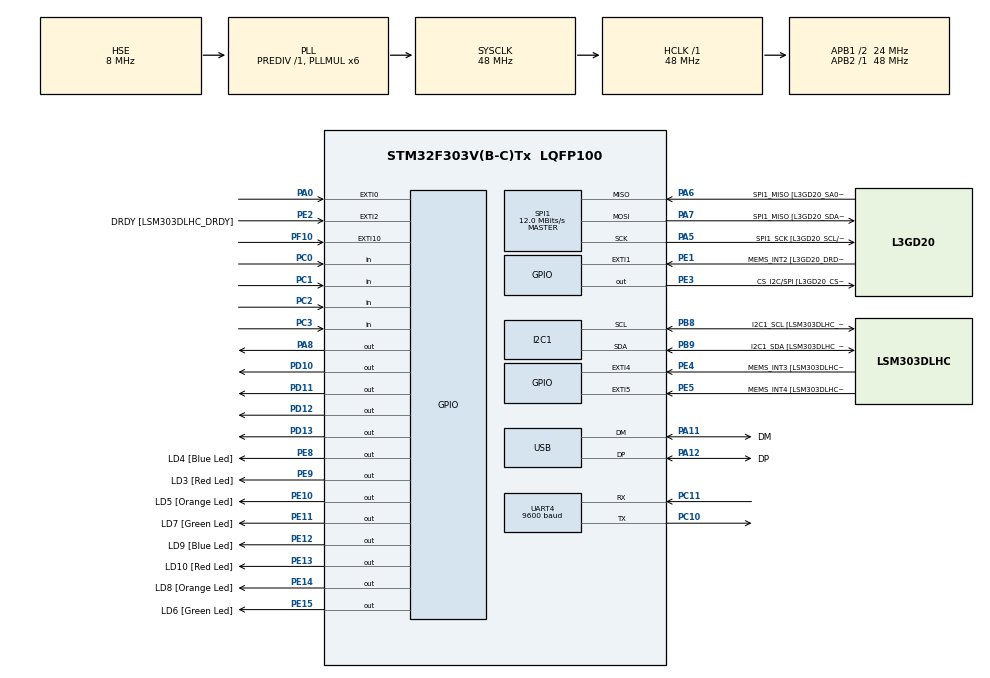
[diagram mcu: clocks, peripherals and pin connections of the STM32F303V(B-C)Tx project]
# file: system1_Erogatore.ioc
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Mcu.Family=STM32F3
Mcu.Name=STM32F303V(B-C)Tx
Mcu.Package=LQFP100
NVIC.EXTI0_IRQn=true\:0\:0\:false\:false\:true\:true\:true\:true
NVIC.EXTI15_10_IRQn=true\:0\:0\:false\:false\:true\:true\:true\:true
NVIC.PriorityGroup=NVIC_PRIORITYGROUP_0
NVIC.UART4_IRQn=true\:0\:0\:false\:false\:true\:true\:true\:true
PA0.Signal=GPXTI0
PA11.GPIO_Label=DM
PA11.Mode=Device
PA11.Signal=USB_DM
PA12.GPIO_Label=DP
PA12.Mode=Device
PA12.Signal=USB_DP
PA13.GPIO_Label=SWDIO
PA13.Mode=Serial_Wire
PA13.Signal=SYS_JTMS-SWDIO
PA14.GPIO_Label=SWCLK
PA14.Mode=Serial_Wire
PA14.Signal=SYS_JTCK-SWCLK
PA5.GPIO_Label=SPI1_SCK [L3GD20_SCL/SPC]
PA5.Mode=Full_Duplex_Master
PA5.Signal=SPI1_SCK
PA6.GPIO_Label=SPI1_MISO [L3GD20_SA0/SDO]
PA6.Mode=Full_Duplex_Master
PA6.Signal=SPI1_MISO
PA7.GPIO_Label=SPI1_MISO [L3GD20_SDA/SDI/SDO]
PA7.Mode=Full_Duplex_Master
PA7.Signal=SPI1_MOSI
PA8.PinState=GPIO_PIN_RESET
PA8.Signal=GPIO_Output
PB3.GPIO_Label=SWO
PB3.Signal=SYS_JTDO-TRACESWO
PB8.GPIO_Label=I2C1_SCL [LSM303DLHC_SCL]
PB8.GPIO_Pu=GPIO_PULLUP
PB8.Mode=I2C
PB8.Signal=I2C1_SCL
PB9.GPIO_Label=I2C1_SDA [LSM303DLHC_SDA]
PB9.GPIO_Pu=GPIO_PULLUP
PB9.Mode=I2C
PB9.Signal=I2C1_SDA
PC0.Signal=GPIO_Input
PC1.Signal=GPIO_Input
PC10.Mode=Asynchronous
PC10.Signal=UART4_TX
PC11.Mode=Asynchronous
PC11.Signal=UART4_RX
PC14-OSC32_IN.GPIO_Label=OSC32_IN
PC14-OSC32_IN.Signal=RCC_OSC32_IN
PC15-OSC32_OUT.GPIO_Label=OSC32_OUT
PC15-OSC32_OUT.Signal=RCC_OSC32_OUT
PC2.Signal=GPIO_Input
PC3.Signal=GPIO_Input
PD10.Signal=GPIO_Output
PD11.Signal=GPIO_Output
PD12.Signal=GPIO_Output
PD13.Signal=GPIO_Output
PE1.GPIO_Label=MEMS_INT2 [L3GD20_DRDY/INT2]
PE1.GPIO_ModeDefaultEXTI=GPIO_MODE_EVT_RISING
PE1.Signal=GPXTI1
PE10.GPIO_Label=LD5 [Orange Led]
PE10.Signal=GPIO_Output
PE11.GPIO_Label=LD7 [Green Led]
PE11.Signal=GPIO_Output
PE12.GPIO_Label=LD9 [Blue Led]
PE12.Signal=GPIO_Output
PE13.GPIO_Label=LD10 [Red Led]
PE13.Signal=GPIO_Output
PE14.GPIO_Label=LD8 [Orange Led]
PE14.Signal=GPIO_Output
PE15.GPIO_Label=LD6 [Green Led]
PE15.Signal=GPIO_Output
PE2.GPIO_Label=DRDY [LSM303DLHC_DRDY]
PE2.GPIO_ModeDefaultEXTI=GPIO_MODE_EVT_RISING
PE2.Signal=GPXTI2
PE3.GPIO_Label=CS_I2C/SPI [L3GD20_CS_I2C/SPI]
PE3.Signal=GPIO_Output
PE4.GPIO_Label=MEMS_INT3 [LSM303DLHC_INT1]
PE4.GPIO_ModeDefaultEXTI=GPIO_MODE_EVT_RISING
PE4.Signal=GPXTI4
PE5.GPIO_Label=MEMS_INT4 [LSM303DLHC_INT2]
PE5.GPIO_ModeDefaultEXTI=GPIO_MODE_EVT_RISING
PE5.Signal=GPXTI5
PE8.GPIO_Label=LD4 [Blue Led]
PE8.Signal=GPIO_Output
PE9.GPIO_Label=LD3 [Red Led]
PE9.Signal=GPIO_Output
PF0-OSC_IN.GPIO_Label=OSC_IN
PF0-OSC_IN.Mode=HSE-External-Clock-Source
PF0-OSC_IN.Signal=RCC_OSC_IN
PF1-OSC_OUT.GPIO_Label=OSC_OUT
PF1-OSC_OUT.Signal=RCC_OSC_OUT
PF10.GPIO_PuPd=GPIO_NOPULL
PF10.Signal=GPXTI10
ProjectManager.HeapSize=0x200
ProjectManager.StackSize=0x400
ProjectManager.TargetToolchain=STM32CubeIDE
RCC.AHBFreq_Value=48000000
RCC.APB1CLKDivider=RCC_HCLK_DIV2
RCC.APB1Freq_Value=24000000
RCC.APB1TimFreq_Value=48000000
RCC.APB2Freq_Value=48000000
RCC.APB2TimFreq_Value=48000000
RCC.CortexFreq_Value=48000000
RCC.HCLKFreq_Value=48000000
RCC.HSE_VALUE=8000000
RCC.HSI_VALUE=8000000
RCC.LSE_VALUE=32768
RCC.PLLMUL=RCC_PLL_MUL6
RCC.SYSCLKFreq_VALUE=48000000
RCC.SYSCLKSourceVirtual=RCC_SYSCLKSOURCE_PLLCLK
RCC.USBFreq_Value=48000000
SPI1.BaudRatePrescaler=SPI_BAUDRATEPRESCALER_4
SPI1.BaudRatePrescaler-Full_Duplex_Master=SPI_BAUDRATEPRESCALER_2
SPI1.CalculateBaudRate=12.0 MBits/s
SPI1.CalculateBaudRate-Full_Duplex_Master=24.0 MBits/s
SPI1.Direction=SPI_DIRECTION_2LINES
SPI1.Mode=SPI_MODE_MASTER
SPI1.Mode-Full_Duplex_Master=SPI_MODE_MASTER
SPI1.VirtualType=VM_MASTER
UART4.BaudRate=9600
board=STM32F3DISCOVERY

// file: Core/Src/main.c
/* USER CODE BEGIN Header */
/**
  ******************************************************************************
  * @file           : main.c
  * @brief          : Main program body
  ******************************************************************************
  * @attention
  *
  * Copyright (c) 2024 STMicroelectronics.
  * All rights reserved.
  *
  * This software is licensed under terms that can be found in the LICENSE file
  * in the root directory of this software component.
  * If no LICENSE file comes with this software, it is provided AS-IS.
  *
  ******************************************************************************
  */
/* USER CODE END Header */
#include "main.h"

/* USER CODE BEGIN Includes */
#include "liquidcrystal_i2c.h"
#include "STM32F407_KeypadDriver.h"
#include "string.h"
#include <stdlib.h>
/* USER CODE END Includes */

/* USER CODE BEGIN PTD */
float Flow;
int pulse=0;
float erogato;
int auth=0;
int i=0;
/* USER CODE END PTD */

I2C_HandleTypeDef hi2c1;

SPI_HandleTypeDef hspi1;

UART_HandleTypeDef huart4;

PCD_HandleTypeDef hpcd_USB_FS;

/* USER CODE BEGIN PV */
uint8_t rxBuffer[12]; // Buffer per ricevere la parola "si"

/* USER CODE END PV */

void SystemClock_Config(void);
static void MX_GPIO_Init(void);
static void MX_I2C1_Init(void);
static void MX_SPI1_Init(void);
static void MX_USB_PCD_Init(void);
static void MX_UART4_Init(void);

int main(void)
{

  /* USER CODE BEGIN 1 */

	HAL_GPIO_WritePin(GPIOA, GPIO_PIN_8, GPIO_PIN_RESET); // Relè OFF
  /* USER CODE END 1 */

  /* MCU Configuration--------------------------------------------------------*/

  /* Reset of all peripherals, Initializes the Flash interface and the Systick. */
  HAL_Init();

  /* Configure the system clock */
  SystemClock_Config();

  /* Initialize all configured peripherals */
  MX_GPIO_Init();
  MX_I2C1_Init();
  MX_SPI1_Init();
  MX_USB_PCD_Init();
  MX_UART4_Init();
  /* USER CODE BEGIN 2 */
  KEYPAD_Init();
  //HAL_UART_Receive_IT(&huart4,(uint8_t *) rxBuffer, sizeof(rxBuffer));

  char Key = KEYPAD_NOT_PRESSED;

	int count=0;
	int pos=6;
	int n=0;
	char number[3];
	char buffDaErogare[30];
	char buffFlow[30];
	char buffErogato[30];
	char messaggio[30];
	int mlInput;
	int b=5;
	uint16_t led_pins[] = {GPIO_PIN_8, GPIO_PIN_9, GPIO_PIN_10, GPIO_PIN_11,
							   GPIO_PIN_12, GPIO_PIN_13, GPIO_PIN_14, GPIO_PIN_15};

  /* USER CODE END 2 */

  /* Infinite loop */
  while (1)
  {

    /* USER CODE BEGIN 3 */
	count=0;
	pos=6;

	number[0]=number[1]=number[2]=number[3]='\0';
	messaggio[0]=messaggio[1]=messaggio[2]='A';
	auth=0;

	HAL_GPIO_WritePin(GPIOA, GPIO_PIN_8, GPIO_PIN_RESET); // Relè OFF

	HD44780_Init(2);
	HD44780_Clear();
	HD44780_SetCursor(0,0);
	HD44780_PrintStr("Progetto APC");

	HD44780_SetCursor(0,1);
	HD44780_PrintStr("Erogatore NFC");
	HAL_UART_Receive_IT(&huart4,(uint8_t *) rxBuffer, sizeof(rxBuffer));

	 while (auth!=1) {

	    }
	HD44780_Clear();
	HD44780_SetCursor(0,0);
	HD44780_Clear();
	HD44780_PrintStr("ID Card auth:");
	HD44780_SetCursor(0,1);
	sprintf(messaggio,"%s",rxBuffer);
	HD44780_PrintStr(messaggio);
	HAL_Delay(3000);

	//HAL_UART_AbortReceive(&huart4);
	HD44780_Clear();
	HD44780_SetCursor(0,0);
	HD44780_PrintStr("Eroga");
	HD44780_SetCursor(14,0);
	HD44780_PrintStr("ml");

	while(count<3){
		 HD44780_SetCursor(11+pos,0);
		 HD44780_Cursor();
		 Key = KEYPAD_Read();

		 if(Key != KEYPAD_NOT_PRESSED){

			 if(Key!='*' && Key!='#'&& Key!='A' && Key!='B' && Key!='C' && Key!='D'){
				 pos++;
				 HD44780_SetCursor(11,0);
				 number[count]=Key;
				 HD44780_PrintStr(number);
				 count++;
			 } else{
				 if(Key=='*' && (count>0)){
					 pos--;
					 count--;
				 }
			 }

		 }

		 /* Read Keypad Every 100ms */
		 HAL_Delay(100);

	}
	mlInput=atoi(number);
	HD44780_NoCursor();
	HD44780_Clear();

	HD44780_SetCursor(0,0);

	erogato=0;
	pulse=0;
	Flow=0;
	i=0;
	HAL_GPIO_WritePin(GPIOA, GPIO_PIN_8, GPIO_PIN_SET); // Relè ON
	while(erogato<mlInput){

		  HD44780_SetCursor(0,0);
		  //sprintf(buffPulse,"puls: %d", pulse);
		  sprintf(buffFlow,"Flow:%3.1f",Flow);
		  sprintf(buffErogato,"Erogato:%3.1f ml",erogato);
		  HD44780_SetCursor(0,0);
		  HD44780_PrintStr(buffFlow);
		  HD44780_SetCursor(0,1);
		  HD44780_PrintStr(buffErogato);

	}
	HAL_GPIO_WritePin(GPIOA, GPIO_PIN_8, GPIO_PIN_RESET); // Relè OFF
	HD44780_SetCursor(0,0);
	sprintf(buffDaErogare,"Da erogare:%d ml",mlInput);
	HD44780_PrintStr(buffDaErogare);
	HD44780_SetCursor(0,1);
	sprintf(buffErogato,"Erogato:%3.1f ml",erogato);
	HD44780_PrintStr(buffErogato);

	// Animazione LED termine erogazione
		for (int i = 0; i < 8; i++) {
			HAL_GPIO_WritePin(GPIOE, led_pins[i], GPIO_PIN_SET);
			HAL_Delay(100);
		}
		HAL_Delay(200);
		for (int i = 0; i < 8; i++) {
				HAL_GPIO_WritePin(GPIOE, led_pins[i], GPIO_PIN_RESET);
				HAL_Delay(200);
			}
		for (int i = 0; i < 8; i++) {
				HAL_GPIO_WritePin(GPIOE, led_pins[i], GPIO_PIN_SET);
			}
		HAL_Delay(500);

		for (int i = 0; i < 8; i++) {
				HAL_GPIO_WritePin(GPIOE, led_pins[i], GPIO_PIN_RESET);
			}
	HAL_Delay(1000);

	}
  /* USER CODE END 3 */
}

void SystemClock_Config(void)
{
  RCC_OscInitTypeDef RCC_OscInitStruct = {0};
  RCC_ClkInitTypeDef RCC_ClkInitStruct = {0};
  RCC_PeriphCLKInitTypeDef PeriphClkInit = {0};

  /** Initializes the RCC Oscillators according to the specified parameters
  * in the RCC_OscInitTypeDef structure.
  */
  RCC_OscInitStruct.OscillatorType = RCC_OSCILLATORTYPE_HSI|RCC_OSCILLATORTYPE_HSE;
  RCC_OscInitStruct.HSEState = RCC_HSE_BYPASS;
  RCC_OscInitStruct.HSEPredivValue = RCC_HSE_PREDIV_DIV1;
  RCC_OscInitStruct.HSIState = RCC_HSI_ON;
  RCC_OscInitStruct.HSICalibrationValue = RCC_HSICALIBRATION_DEFAULT;
  RCC_OscInitStruct.PLL.PLLState = RCC_PLL_ON;
  RCC_OscInitStruct.PLL.PLLSource = RCC_PLLSOURCE_HSE;
  RCC_OscInitStruct.PLL.PLLMUL = RCC_PLL_MUL6;
  if (HAL_RCC_OscConfig(&RCC_OscInitStruct) != HAL_OK)
  {
    Error_Handler();
  }

  /** Initializes the CPU, AHB and APB buses clocks
  */
  RCC_ClkInitStruct.ClockType = RCC_CLOCKTYPE_HCLK|RCC_CLOCKTYPE_SYSCLK
                              |RCC_CLOCKTYPE_PCLK1|RCC_CLOCKTYPE_PCLK2;
  RCC_ClkInitStruct.SYSCLKSource = RCC_SYSCLKSOURCE_PLLCLK;
  RCC_ClkInitStruct.AHBCLKDivider = RCC_SYSCLK_DIV1;
  RCC_ClkInitStruct.APB1CLKDivider = RCC_HCLK_DIV2;
  RCC_ClkInitStruct.APB2CLKDivider = RCC_HCLK_DIV1;

  if (HAL_RCC_ClockConfig(&RCC_ClkInitStruct, FLASH_LATENCY_1) != HAL_OK)
  {
    Error_Handler();
  }
  PeriphClkInit.PeriphClockSelection = RCC_PERIPHCLK_USB|RCC_PERIPHCLK_UART4
                              |RCC_PERIPHCLK_I2C1;
  PeriphClkInit.Uart4ClockSelection = RCC_UART4CLKSOURCE_PCLK1;
  PeriphClkInit.I2c1ClockSelection = RCC_I2C1CLKSOURCE_HSI;
  PeriphClkInit.USBClockSelection = RCC_USBCLKSOURCE_PLL;
  if (HAL_RCCEx_PeriphCLKConfig(&PeriphClkInit) != HAL_OK)
  {
    Error_Handler();
  }
}

static void MX_I2C1_Init(void)
{

  hi2c1.Instance = I2C1;
  hi2c1.Init.Timing = 0x2000090E;
  hi2c1.Init.OwnAddress1 = 0;
  hi2c1.Init.AddressingMode = I2C_ADDRESSINGMODE_7BIT;
  hi2c1.Init.DualAddressMode = I2C_DUALADDRESS_DISABLE;
  hi2c1.Init.OwnAddress2 = 0;
  hi2c1.Init.OwnAddress2Masks = I2C_OA2_NOMASK;
  hi2c1.Init.GeneralCallMode = I2C_GENERALCALL_DISABLE;
  hi2c1.Init.NoStretchMode = I2C_NOSTRETCH_DISABLE;
  if (HAL_I2C_Init(&hi2c1) != HAL_OK)
  {
    Error_Handler();
  }

  /** Configure Analogue filter
  */
  if (HAL_I2CEx_ConfigAnalogFilter(&hi2c1, I2C_ANALOGFILTER_ENABLE) != HAL_OK)
  {
    Error_Handler();
  }

  /** Configure Digital filter
  */
  if (HAL_I2CEx_ConfigDigitalFilter(&hi2c1, 0) != HAL_OK)
  {
    Error_Handler();
  }

}

static void MX_SPI1_Init(void)
{

  /* SPI1 parameter configuration*/
  hspi1.Instance = SPI1;
  hspi1.Init.Mode = SPI_MODE_MASTER;
  hspi1.Init.Direction = SPI_DIRECTION_2LINES;
  hspi1.Init.DataSize = SPI_DATASIZE_4BIT;
  hspi1.Init.CLKPolarity = SPI_POLARITY_LOW;
  hspi1.Init.CLKPhase = SPI_PHASE_1EDGE;
  hspi1.Init.NSS = SPI_NSS_SOFT;
  hspi1.Init.BaudRatePrescaler = SPI_BAUDRATEPRESCALER_4;
  hspi1.Init.FirstBit = SPI_FIRSTBIT_MSB;
  hspi1.Init.TIMode = SPI_TIMODE_DISABLE;
  hspi1.Init.CRCCalculation = SPI_CRCCALCULATION_DISABLE;
  hspi1.Init.CRCPolynomial = 7;
  hspi1.Init.CRCLength = SPI_CRC_LENGTH_DATASIZE;
  hspi1.Init.NSSPMode = SPI_NSS_PULSE_ENABLE;
  if (HAL_SPI_Init(&hspi1) != HAL_OK)
  {
    Error_Handler();
  }

}

static void MX_UART4_Init(void)
{

  huart4.Instance = UART4;
  huart4.Init.BaudRate = 9600;
  huart4.Init.WordLength = UART_WORDLENGTH_8B;
  huart4.Init.StopBits = UART_STOPBITS_1;
  huart4.Init.Parity = UART_PARITY_NONE;
  huart4.Init.Mode = UART_MODE_TX_RX;
  huart4.Init.HwFlowCtl = UART_HWCONTROL_NONE;
  huart4.Init.OverSampling = UART_OVERSAMPLING_16;
  huart4.Init.OneBitSampling = UART_ONE_BIT_SAMPLE_DISABLE;
  huart4.AdvancedInit.AdvFeatureInit = UART_ADVFEATURE_NO_INIT;
  if (HAL_UART_Init(&huart4) != HAL_OK)
  {
    Error_Handler();
  }

}

static void MX_USB_PCD_Init(void)
{

  hpcd_USB_FS.Instance = USB;
  hpcd_USB_FS.Init.dev_endpoints = 8;
  hpcd_USB_FS.Init.speed = PCD_SPEED_FULL;
  hpcd_USB_FS.Init.phy_itface = PCD_PHY_EMBEDDED;
  hpcd_USB_FS.Init.low_power_enable = DISABLE;
  hpcd_USB_FS.Init.battery_charging_enable = DISABLE;
  if (HAL_PCD_Init(&hpcd_USB_FS) != HAL_OK)
  {
    Error_Handler();
  }

}

static void MX_GPIO_Init(void)
{
  GPIO_InitTypeDef GPIO_InitStruct = {0};

  /* GPIO Ports Clock Enable */
  __HAL_RCC_GPIOE_CLK_ENABLE();
  __HAL_RCC_GPIOC_CLK_ENABLE();
  __HAL_RCC_GPIOF_CLK_ENABLE();
  __HAL_RCC_GPIOA_CLK_ENABLE();
  __HAL_RCC_GPIOD_CLK_ENABLE();
  __HAL_RCC_GPIOB_CLK_ENABLE();

  /*Configure GPIO pin Output Level */
  HAL_GPIO_WritePin(GPIOE, CS_I2C_SPI_Pin|LD4_Pin|LD3_Pin|LD5_Pin
                          |LD7_Pin|LD9_Pin|LD10_Pin|LD8_Pin
                          |LD6_Pin, GPIO_PIN_RESET);

  /*Configure GPIO pin Output Level */
  HAL_GPIO_WritePin(GPIOD, GPIO_PIN_10|GPIO_PIN_11|GPIO_PIN_12|GPIO_PIN_13, GPIO_PIN_RESET);

  /*Configure GPIO pin Output Level */
  HAL_GPIO_WritePin(GPIOA, GPIO_PIN_8, GPIO_PIN_RESET);

  /*Configure GPIO pins : DRDY_Pin MEMS_INT3_Pin MEMS_INT4_Pin MEMS_INT2_Pin */
  GPIO_InitStruct.Pin = DRDY_Pin|MEMS_INT3_Pin|MEMS_INT4_Pin|MEMS_INT2_Pin;
  GPIO_InitStruct.Mode = GPIO_MODE_EVT_RISING;
  GPIO_InitStruct.Pull = GPIO_NOPULL;
  HAL_GPIO_Init(GPIOE, &GPIO_InitStruct);

  /*Configure GPIO pins : CS_I2C_SPI_Pin LD4_Pin LD3_Pin LD5_Pin
                           LD7_Pin LD9_Pin LD10_Pin LD8_Pin
                           LD6_Pin */
  GPIO_InitStruct.Pin = CS_I2C_SPI_Pin|LD4_Pin|LD3_Pin|LD5_Pin
                          |LD7_Pin|LD9_Pin|LD10_Pin|LD8_Pin
                          |LD6_Pin;
  GPIO_InitStruct.Mode = GPIO_MODE_OUTPUT_PP;
  GPIO_InitStruct.Pull = GPIO_NOPULL;
  GPIO_InitStruct.Speed = GPIO_SPEED_FREQ_LOW;
  HAL_GPIO_Init(GPIOE, &GPIO_InitStruct);

  /*Configure GPIO pin : PF10 */
  GPIO_InitStruct.Pin = GPIO_PIN_10;
  GPIO_InitStruct.Mode = GPIO_MODE_IT_RISING;
  GPIO_InitStruct.Pull = GPIO_NOPULL;
  HAL_GPIO_Init(GPIOF, &GPIO_InitStruct);

  /*Configure GPIO pins : PC0 PC1 PC2 PC3 */
  GPIO_InitStruct.Pin = GPIO_PIN_0|GPIO_PIN_1|GPIO_PIN_2|GPIO_PIN_3;
  GPIO_InitStruct.Mode = GPIO_MODE_INPUT;
  GPIO_InitStruct.Pull = GPIO_NOPULL;
  HAL_GPIO_Init(GPIOC, &GPIO_InitStruct);

  /*Configure GPIO pin : PA0 */
  GPIO_InitStruct.Pin = GPIO_PIN_0;
  GPIO_InitStruct.Mode = GPIO_MODE_IT_RISING;
  GPIO_InitStruct.Pull = GPIO_NOPULL;
  HAL_GPIO_Init(GPIOA, &GPIO_InitStruct);

  /*Configure GPIO pins : PD10 PD11 PD12 PD13 */
  GPIO_InitStruct.Pin = GPIO_PIN_10|GPIO_PIN_11|GPIO_PIN_12|GPIO_PIN_13;
  GPIO_InitStruct.Mode = GPIO_MODE_OUTPUT_PP;
  GPIO_InitStruct.Pull = GPIO_NOPULL;
  GPIO_InitStruct.Speed = GPIO_SPEED_FREQ_LOW;
  HAL_GPIO_Init(GPIOD, &GPIO_InitStruct);

  /*Configure GPIO pin : PA8 */
  GPIO_InitStruct.Pin = GPIO_PIN_8;
  GPIO_InitStruct.Mode = GPIO_MODE_OUTPUT_PP;
  GPIO_InitStruct.Pull = GPIO_NOPULL;
  GPIO_InitStruct.Speed = GPIO_SPEED_FREQ_LOW;
  HAL_GPIO_Init(GPIOA, &GPIO_InitStruct);

  /* EXTI interrupt init*/
  HAL_NVIC_SetPriority(EXTI0_IRQn, 0, 0);
  HAL_NVIC_EnableIRQ(EXTI0_IRQn);

  HAL_NVIC_SetPriority(EXTI15_10_IRQn, 0, 0);
  HAL_NVIC_EnableIRQ(EXTI15_10_IRQn);

}

/* USER CODE BEGIN 4 */

void HAL_UART_RxCpltCallback(UART_HandleTypeDef *huart)
{
	HAL_GPIO_WritePin(GPIOE, GPIO_PIN_8, GPIO_PIN_SET);
	HAL_GPIO_WritePin(GPIOE, GPIO_PIN_8, GPIO_PIN_RESET);
  auth=1;
  //HAL_UART_Receive_IT(&huart4,(uint8_t *) rxBuffer, sizeof(rxBuffer));
}

/* USER CODE END 4 */

void Error_Handler(void)
{
  __disable_irq();
  while (1)
  {
  }
}
